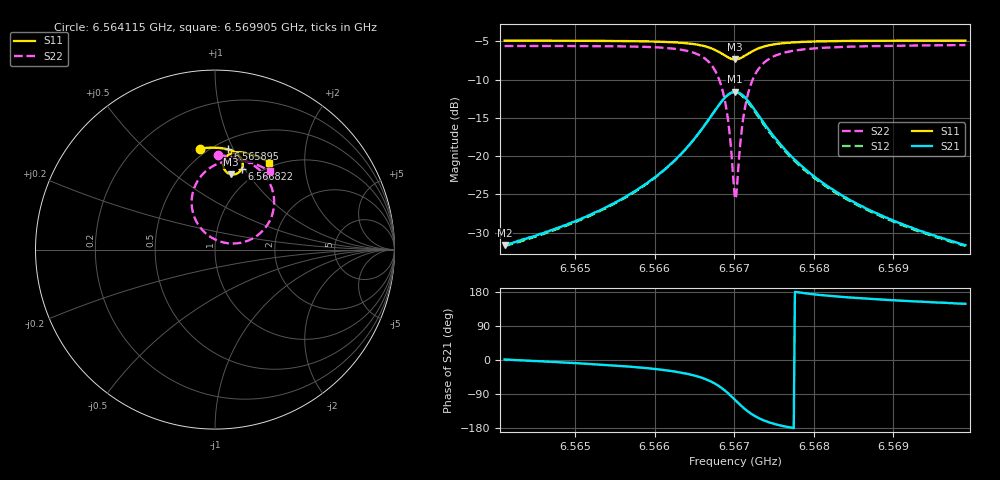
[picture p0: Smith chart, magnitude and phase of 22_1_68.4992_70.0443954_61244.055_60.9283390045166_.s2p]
#  HZ  S  RI  R  50.00
! Rohde & Schwarz Vector Network Analyzer
! Rohde-Schwarz,ZNB20-2Port,1311601062101988,3.16
! Created: UTC 3/20/2024, 5:04:43 PM
! freq[Hz]  re:S11  im:S11  re:S21  im:S21  re:S12  im:S12  re:S22  im:S22
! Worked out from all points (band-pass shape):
!   401 points, 6.564115 GHz to 6.569905 GHz, reference 50 ohm
!   highest |S21| = -11.58 dB at 6.56701 GHz (marker M1); lowest = -31.6 dB at 6.564115 GHz (marker M2)
!   |S21| within 3 dB of the highest: 6.566721 GHz to 6.5673 GHz (578.2 kHz wide, 0.00881 % of centre)
!   lowest |S11| = -7.4 dB at 6.56701 GHz (marker M3), VSWR 2.50, Z = 40.5 + j41.7 ohm
!   |S11| at or under -10 dB: nowhere
!   |S22| runs from -25.5 to -5.5 dB; largest |S21 - S12| = 0.012
!   S11 on the Smith chart (normalised r, x): 6.564115 GHz: 0.45, +0.76; 6.565895 GHz: 0.58, +0.95; 6.566822 GHz: 0.84, +0.97; 6.569905 GHz: 0.94, +1.34
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6.5641149e9  -0.0813 0.5632  0.0263 0.000581  0.0258 0.000139  0.0175 0.5247
6.5650847e9  -0.00286 0.5679  0.0386 -0.00622  0.0382 -0.00672  0.1064 0.5142
6.5658952e9  0.0702 0.5587  0.0617 -0.0241  0.0607 -0.0249  0.2038 0.4764
6.5660545e9  0.0862 0.5538  0.0692 -0.0321  0.0683 -0.0329  0.2284 0.4602
6.5663729e9  0.1216 0.5358  0.0893 -0.0623  0.088 -0.0636  0.2868 0.4004
6.56659e9  0.146 0.509  0.1026 -0.1089  0.1002 -0.1108  0.3252 0.311
6.5667203e9  0.1549 0.4807  0.0985 -0.1582  0.0946 -0.1608  0.3247 0.217
6.5668216e9  0.1499 0.4515  0.0726 -0.2086  0.0663 -0.2113  0.2805 0.1219
6.5669084e9  0.1296 0.4274  0.021 -0.2478  0.0117 -0.2483  0.1869 0.0511
6.5669374e9  0.1193 0.422  -0.00269 -0.2556  -0.0131 -0.2549  0.1439 0.038
6.5669953e9  0.0949 0.4186  -0.0558 -0.2574  -0.0664 -0.253  0.0498 0.0391
6.5670098e9  0.0886 0.4196  -0.0691 -0.2546  -0.0795 -0.2492  0.0266 0.0456
6.5670387e9  0.0766 0.4235  -0.0946 -0.2448  -0.1041 -0.2377  -0.0168 0.0653
6.5670966e9  0.0575 0.4384  -0.1361 -0.2131  -0.1429 -0.2035  -0.0847 0.1262
6.56714e9  0.0487 0.4533  -0.1562 -0.1832  -0.1604 -0.1731  -0.1148 0.1807
6.5671979e9  0.0449 0.4736  -0.169 -0.1433  -0.1703 -0.1335  -0.1299 0.252
6.5672703e9  0.0488 0.4954  -0.1687 -0.1004  -0.1677 -0.0921  -0.1214 0.3264
6.5675308e9  0.088 0.5344  -0.1264 -0.0216  -0.1237 -0.0181  -0.0252 0.457
6.5679795e9  0.1465 0.5422  -0.0751 0.00814  -0.0733 0.00917  0.0954 0.4965
6.5684427e9  0.1919 0.5337  -0.0505 0.0133  -0.0493 0.0139  0.1682 0.4918
6.5689493e9  0.2339 0.5191  -0.0362 0.0144  -0.0354 0.0146  0.2246 0.4763
6.5699046e9  0.3029 0.4839  -0.0224 0.0138  -0.0218 0.0138  0.3045 0.4372
